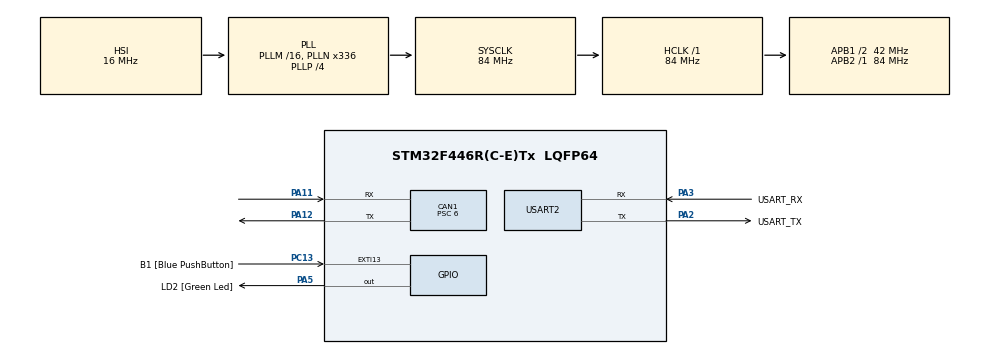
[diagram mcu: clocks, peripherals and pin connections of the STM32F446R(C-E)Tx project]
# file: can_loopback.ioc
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CAN1.BS1=CAN_BS1_11TQ
CAN1.BS2=CAN_BS2_2TQ
CAN1.CalculateBaudRate=500000
CAN1.CalculateTimeBit=2000
CAN1.CalculateTimeQuantum=142.85714285714286
CAN1.Prescaler=6
FREERTOS.Tasks01=defaultTask,24,128,StartDefaultTask,Default,NULL,Dynamic,NULL,NULL;CAN_Task,24,256,StartCANTask,Default,NULL,Dynamic,NULL,NULL
Mcu.Family=STM32F4
Mcu.Name=STM32F446R(C-E)Tx
Mcu.Package=LQFP64
NVIC.CAN1_RX0_IRQn=true\:5\:0\:false\:false\:true\:true\:true\:true\:true
NVIC.CAN1_TX_IRQn=true\:5\:0\:false\:false\:true\:true\:true\:true\:true
NVIC.PriorityGroup=NVIC_PRIORITYGROUP_4
NVIC.TIM6_DAC_IRQn=true\:15\:0\:false\:false\:true\:false\:false\:true\:true
NVIC.TimeBase=TIM6_DAC_IRQn
NVIC.TimeBaseIP=TIM6
PA11.Mode=CAN_Activate
PA11.Signal=CAN1_RX
PA12.Mode=CAN_Activate
PA12.Signal=CAN1_TX
PA13.GPIO_Label=TMS
PA13.Mode=Serial_Wire
PA13.Signal=SYS_JTMS-SWDIO
PA14.GPIO_Label=TCK
PA14.Mode=Serial_Wire
PA14.Signal=SYS_JTCK-SWCLK
PA2.GPIO_Label=USART_TX
PA2.Mode=Asynchronous
PA2.Signal=USART2_TX
PA3.GPIO_Label=USART_RX
PA3.Mode=Asynchronous
PA3.Signal=USART2_RX
PA5.GPIO_Label=LD2 [Green Led]
PA5.Signal=GPIO_Output
PB3.GPIO_Label=SWO
PB3.Signal=SYS_JTDO-SWO
PC13.GPIO_Label=B1 [Blue PushButton]
PC13.GPIO_ModeDefaultEXTI=GPIO_MODE_IT_FALLING
PC13.Signal=GPXTI13
PC14-OSC32_IN.Signal=RCC_OSC32_IN
PC15-OSC32_OUT.Signal=RCC_OSC32_OUT
PH0-OSC_IN.Signal=RCC_OSC_IN
PH1-OSC_OUT.Signal=RCC_OSC_OUT
ProjectManager.HeapSize=0x200
ProjectManager.StackSize=0x400
ProjectManager.TargetToolchain=STM32CubeIDE
RCC.AHBFreq_Value=84000000
RCC.APB1CLKDivider=RCC_HCLK_DIV2
RCC.APB1Freq_Value=42000000
RCC.APB1TimFreq_Value=84000000
RCC.APB2Freq_Value=84000000
RCC.APB2TimFreq_Value=84000000
RCC.CortexFreq_Value=84000000
RCC.FLatency-AdvancedSettings=FLASH_LATENCY_2
RCC.HCLKFreq_Value=84000000
RCC.HSE_VALUE=8000000
RCC.HSI_VALUE=16000000
RCC.LSE_VALUE=32768
RCC.PLLN=336
RCC.PLLP=RCC_PLLP_DIV4
RCC.SYSCLKFreq_VALUE=84000000
RCC.SYSCLKSource=RCC_SYSCLKSOURCE_PLLCLK
RCC.USBFreq_Value=168000000
RCC.VCOOutputFreq_Value=336000000
USART2.VirtualMode=VM_ASYNC
VP_FREERTOS_VS_CMSIS_V2.Mode=CMSIS_V2
VP_SYS_VS_tim6.Mode=TIM6
board=NUCLEO-F446RE

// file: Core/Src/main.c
/* USER CODE BEGIN Header */
/**
  ******************************************************************************
  * @file           : main.c
  * @brief          : Main program body
  ******************************************************************************
  * @attention
  *
  * Copyright (c) 2026 STMicroelectronics.
  * All rights reserved.
  *
  * This software is licensed under terms that can be found in the LICENSE file
  * in the root directory of this software component.
  * If no LICENSE file comes with this software, it is provided AS-IS.
  *
  ******************************************************************************
  */
/* USER CODE END Header */
#include "main.h"
#include "cmsis_os.h"

/* USER CODE BEGIN Includes */
#include <string.h>
#include <stdio.h>
/* USER CODE END Includes */

CAN_HandleTypeDef hcan1;

UART_HandleTypeDef huart2;

/* Definitions for defaultTask */
osThreadId_t defaultTaskHandle;
const osThreadAttr_t defaultTask_attributes = {
  .name = "defaultTask",
  .stack_size = 128 * 4,
  .priority = (osPriority_t) osPriorityNormal,
};
/* Definitions for CAN_Task */
osThreadId_t CAN_TaskHandle;
const osThreadAttr_t CAN_Task_attributes = {
  .name = "CAN_Task",
  .stack_size = 256 * 4,
  .priority = (osPriority_t) osPriorityNormal,
};

void SystemClock_Config(void);
static void MX_GPIO_Init(void);
static void MX_CAN1_Init(void);
static void MX_USART2_UART_Init(void);
void StartDefaultTask(void *argument);
void StartCANTask(void *argument);

int main(void)
{

  /* MCU Configuration--------------------------------------------------------*/

  /* Reset of all peripherals, Initializes the Flash interface and the Systick. */
  HAL_Init();

  /* Configure the system clock */
  SystemClock_Config();

  /* Initialize all configured peripherals */
  MX_GPIO_Init();
  MX_CAN1_Init();
  MX_USART2_UART_Init();
  /* USER CODE BEGIN 2 */
  // 루프백 모드 설정
  hcan1.Instance->BTR |= CAN_BTR_LBKM;
  CAN_FilterTypeDef sFilterConfig;
  sFilterConfig.FilterBank = 0;
  sFilterConfig.FilterMode = CAN_FILTERMODE_IDMASK;
  sFilterConfig.FilterScale = CAN_FILTERSCALE_32BIT;
  sFilterConfig.FilterIdHigh = 0x0000;
  sFilterConfig.FilterIdLow = 0x0000;
  sFilterConfig.FilterMaskIdHigh = 0x0000;
  sFilterConfig.FilterMaskIdLow = 0x0000;
  sFilterConfig.FilterFIFOAssignment = CAN_RX_FIFO0;
  sFilterConfig.FilterActivation = ENABLE;
  HAL_CAN_ConfigFilter(&hcan1, &sFilterConfig);

  HAL_CAN_Start(&hcan1);
  HAL_CAN_ActivateNotification(&hcan1, CAN_IT_RX_FIFO0_MSG_PENDING);

  /* USER CODE END 2 */

  /* Init scheduler */
  osKernelInitialize();

  /* Create the thread(s) */
  /* creation of defaultTask */
  defaultTaskHandle = osThreadNew(StartDefaultTask, NULL, &defaultTask_attributes);

  /* creation of CAN_Task */
  CAN_TaskHandle = osThreadNew(StartCANTask, NULL, &CAN_Task_attributes);

  /* Start scheduler */
  osKernelStart();

  /* We should never get here as control is now taken by the scheduler */

  /* Infinite loop */
  while (1)
  {

  }
}

void SystemClock_Config(void)
{
  RCC_OscInitTypeDef RCC_OscInitStruct = {0};
  RCC_ClkInitTypeDef RCC_ClkInitStruct = {0};

  /** Configure the main internal regulator output voltage
  */
  __HAL_RCC_PWR_CLK_ENABLE();
  __HAL_PWR_VOLTAGESCALING_CONFIG(PWR_REGULATOR_VOLTAGE_SCALE3);

  /** Initializes the RCC Oscillators according to the specified parameters
  * in the RCC_OscInitTypeDef structure.
  */
  RCC_OscInitStruct.OscillatorType = RCC_OSCILLATORTYPE_HSI;
  RCC_OscInitStruct.HSIState = RCC_HSI_ON;
  RCC_OscInitStruct.HSICalibrationValue = RCC_HSICALIBRATION_DEFAULT;
  RCC_OscInitStruct.PLL.PLLState = RCC_PLL_ON;
  RCC_OscInitStruct.PLL.PLLSource = RCC_PLLSOURCE_HSI;
  RCC_OscInitStruct.PLL.PLLM = 16;
  RCC_OscInitStruct.PLL.PLLN = 336;
  RCC_OscInitStruct.PLL.PLLP = RCC_PLLP_DIV4;
  RCC_OscInitStruct.PLL.PLLQ = 2;
  RCC_OscInitStruct.PLL.PLLR = 2;
  if (HAL_RCC_OscConfig(&RCC_OscInitStruct) != HAL_OK)
  {
    Error_Handler();
  }

  /** Initializes the CPU, AHB and APB buses clocks
  */
  RCC_ClkInitStruct.ClockType = RCC_CLOCKTYPE_HCLK|RCC_CLOCKTYPE_SYSCLK
                              |RCC_CLOCKTYPE_PCLK1|RCC_CLOCKTYPE_PCLK2;
  RCC_ClkInitStruct.SYSCLKSource = RCC_SYSCLKSOURCE_PLLCLK;
  RCC_ClkInitStruct.AHBCLKDivider = RCC_SYSCLK_DIV1;
  RCC_ClkInitStruct.APB1CLKDivider = RCC_HCLK_DIV2;
  RCC_ClkInitStruct.APB2CLKDivider = RCC_HCLK_DIV1;

  if (HAL_RCC_ClockConfig(&RCC_ClkInitStruct, FLASH_LATENCY_2) != HAL_OK)
  {
    Error_Handler();
  }
}

static void MX_CAN1_Init(void)
{

  hcan1.Instance = CAN1;
  hcan1.Init.Prescaler = 6;
  hcan1.Init.Mode = CAN_MODE_NORMAL;
  hcan1.Init.SyncJumpWidth = CAN_SJW_1TQ;
  hcan1.Init.TimeSeg1 = CAN_BS1_11TQ;
  hcan1.Init.TimeSeg2 = CAN_BS2_2TQ;
  hcan1.Init.TimeTriggeredMode = DISABLE;
  hcan1.Init.AutoBusOff = DISABLE;
  hcan1.Init.AutoWakeUp = DISABLE;
  hcan1.Init.AutoRetransmission = DISABLE;
  hcan1.Init.ReceiveFifoLocked = DISABLE;
  hcan1.Init.TransmitFifoPriority = DISABLE;
  if (HAL_CAN_Init(&hcan1) != HAL_OK)
  {
    Error_Handler();
  }

}

static void MX_USART2_UART_Init(void)
{

  huart2.Instance = USART2;
  huart2.Init.BaudRate = 115200;
  huart2.Init.WordLength = UART_WORDLENGTH_8B;
  huart2.Init.StopBits = UART_STOPBITS_1;
  huart2.Init.Parity = UART_PARITY_NONE;
  huart2.Init.Mode = UART_MODE_TX_RX;
  huart2.Init.HwFlowCtl = UART_HWCONTROL_NONE;
  huart2.Init.OverSampling = UART_OVERSAMPLING_16;
  if (HAL_UART_Init(&huart2) != HAL_OK)
  {
    Error_Handler();
  }

}

static void MX_GPIO_Init(void)
{
  GPIO_InitTypeDef GPIO_InitStruct = {0};

  /* GPIO Ports Clock Enable */
  __HAL_RCC_GPIOC_CLK_ENABLE();
  __HAL_RCC_GPIOH_CLK_ENABLE();
  __HAL_RCC_GPIOA_CLK_ENABLE();
  __HAL_RCC_GPIOB_CLK_ENABLE();

  /*Configure GPIO pin Output Level */
  HAL_GPIO_WritePin(LD2_GPIO_Port, LD2_Pin, GPIO_PIN_RESET);

  /*Configure GPIO pin : B1_Pin */
  GPIO_InitStruct.Pin = B1_Pin;
  GPIO_InitStruct.Mode = GPIO_MODE_IT_FALLING;
  GPIO_InitStruct.Pull = GPIO_NOPULL;
  HAL_GPIO_Init(B1_GPIO_Port, &GPIO_InitStruct);

  /*Configure GPIO pin : LD2_Pin */
  GPIO_InitStruct.Pin = LD2_Pin;
  GPIO_InitStruct.Mode = GPIO_MODE_OUTPUT_PP;
  GPIO_InitStruct.Pull = GPIO_NOPULL;
  GPIO_InitStruct.Speed = GPIO_SPEED_FREQ_LOW;
  HAL_GPIO_Init(LD2_GPIO_Port, &GPIO_InitStruct);

}

/* USER CODE BEGIN 4 */
void HAL_CAN_RxFifo0MsgPendingCallback(CAN_HandleTypeDef *hcan)
{
    CAN_RxHeaderTypeDef RxHeader;
    uint8_t RxData[8];

    HAL_CAN_GetRxMessage(hcan, CAN_RX_FIFO0, &RxHeader, RxData);

    // 받은 데이터 UART로 출력
    char msg[50];
    sprintf(msg, "CAN RX: ID=0x%lX Data=%d\r\n", RxHeader.StdId, RxData[0]);
    HAL_UART_Transmit(&huart2, (uint8_t*)msg, strlen(msg), 100);
}
/* USER CODE END 4 */

void StartDefaultTask(void *argument)
{
  for(;;)
  {
    osDelay(1);
  }
}

void StartCANTask(void *argument)
{
  /* USER CODE BEGIN StartCANTask */
  CAN_TxHeaderTypeDef TxHeader;
  uint8_t TxData[8];
  uint32_t TxMailbox;

  TxHeader.StdId = 0x123;
  TxHeader.RTR = CAN_RTR_DATA;
  TxHeader.IDE = CAN_ID_STD;
  TxHeader.DLC = 1;
  TxHeader.TransmitGlobalTime = DISABLE;

  for(;;)
  {
    TxData[0]++;
    HAL_CAN_AddTxMessage(&hcan1, &TxHeader, TxData, &TxMailbox);
    osDelay(1000);
  }
  /* USER CODE END StartCANTask */
}

void HAL_TIM_PeriodElapsedCallback(TIM_HandleTypeDef *htim)
{
  if (htim->Instance == TIM6)
  {
    HAL_IncTick();
  }
}

void Error_Handler(void)
{
  __disable_irq();
  while (1)
  {
  }
}
